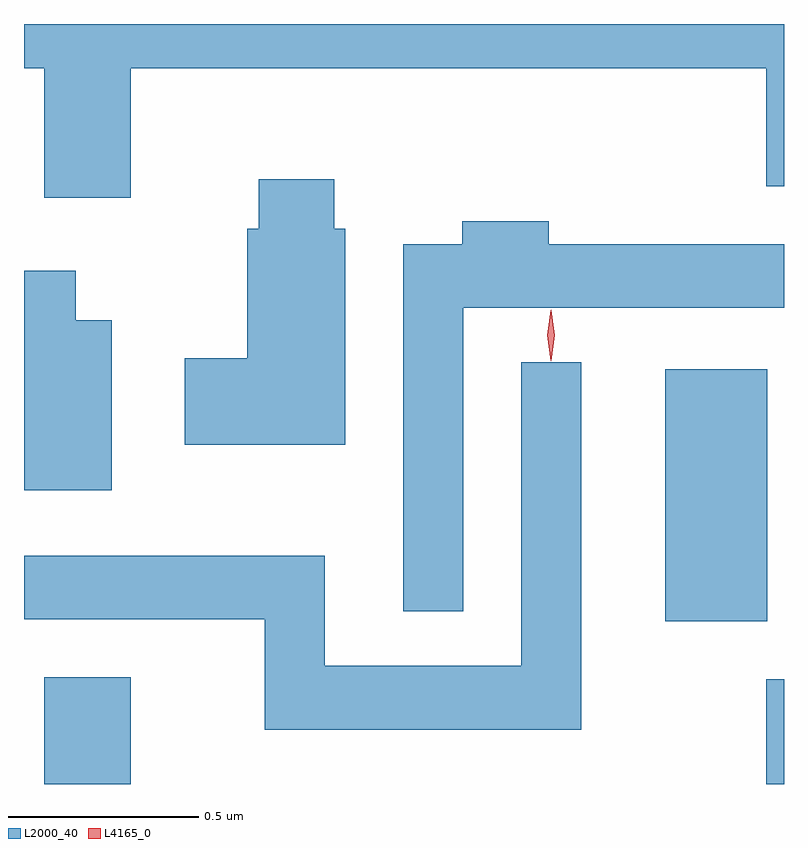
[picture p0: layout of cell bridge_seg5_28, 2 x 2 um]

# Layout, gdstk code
import gdstk
lib = gdstk.Library(unit=1e-6, precision=1e-09)
def R(c, l, rs):  # rectangles x0, y0, x1, y1
    for r in rs: c.add(gdstk.rectangle(r[:2], r[2:], *l))
def P(c, l, *ps):  # polygons
    for p in ps: c.add(gdstk.Polygon(p, *l))
L2000_40 = (2000, 40)
L4165_0 = (4165, 0)

bridge_seg5_28 = lib.new_cell('bridge_seg5_28')
R(bridge_seg5_28, L2000_40, [(1230.011,1474.893,1230.239,1475.174), (1231.911,1474.893,1231.958,1475.169), (1231.646,1475.321,1231.914,1475.984)])
P(bridge_seg5_28, L2000_40, [(1230.239,1476.776),(1231.911,1476.776),(1231.911,1476.466),(1231.958,1476.466),(1231.958,1476.893),(1229.958,1476.893),(1229.958,1476.776),(1230.011,1476.776),(1230.011,1476.436),(1230.239,1476.436)],
  [(1230.804,1476.354),(1230.774,1476.354),(1230.774,1476.484),(1230.576,1476.484),(1230.576,1476.354),(1230.546,1476.354),(1230.546,1476.014),(1230.381,1476.014),(1230.381,1475.786),(1230.804,1475.786)],
  [(1231.114,1476.146),(1231.958,1476.146),(1231.958,1476.314),(1231.339,1476.314),(1231.339,1476.374),(1231.111,1476.374),(1231.111,1476.314),(1230.956,1476.314),(1230.956,1475.348),(1231.114,1475.348)],
  [(1230.189,1476.114),(1230.094,1476.114),(1230.094,1476.244),(1229.958,1476.244),(1229.958,1475.666),(1230.189,1475.666)],
  [(1231.424,1476.003),(1231.266,1476.003),(1231.266,1475.204),(1230.749,1475.204),(1230.749,1475.494),(1229.958,1475.494),(1229.958,1475.326),(1230.591,1475.326),(1230.591,1475.036),(1231.424,1475.036)])
P(bridge_seg5_28, L4165_0, [(1231.344,1476.007),(1231.335,1476.074),(1231.344,1476.14),(1231.345,1476.141),(1231.345,1476.14),(1231.355,1476.074),(1231.345,1476.007),(1231.345,1476.007)])

lib.write_gds('bridge_seg5_28.gds')
